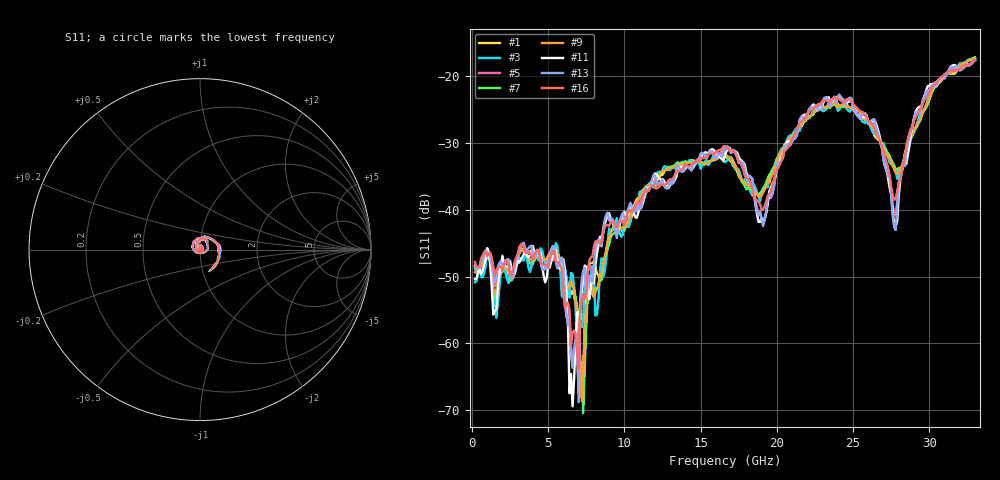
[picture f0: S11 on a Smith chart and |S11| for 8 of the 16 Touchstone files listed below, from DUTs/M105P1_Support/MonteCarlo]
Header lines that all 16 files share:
# GHZ S RI R 50
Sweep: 200 MHz to 33 GHz
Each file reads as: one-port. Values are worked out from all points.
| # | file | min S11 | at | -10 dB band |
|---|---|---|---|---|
| 1 | M105P1_70.s2p | -68.1 dB | 7.2 GHz | over 32.8 GHz wide |
| 2 | M105P1_75.s2p | -61.8 dB | 6.8 GHz | over 32.8 GHz wide |
| 3 | M105P1_76.s2p | -63.1 dB | 6.9 GHz | over 32.8 GHz wide |
| 4 | M105P1_77.s2p | -65.2 dB | 7 GHz | over 32.8 GHz wide |
| 5 | M105P1_79.s2p | -67.0 dB | 7 GHz | over 32.8 GHz wide |
| 6 | M105P1_80.s2p | -63.5 dB | 6.9 GHz | over 32.8 GHz wide |
| 7 | M105P1_84.s2p | -70.5 dB | 7.3 GHz | over 32.8 GHz wide |
| 8 | M105P1_87.s2p | -62.3 dB | 7.3 GHz | over 32.8 GHz wide |
| 9 | M105P1_88.s2p | -68.6 dB | 7.2 GHz | over 32.8 GHz wide |
| 10 | M105P1_90.s2p | -67.5 dB | 6.5 GHz | over 32.8 GHz wide |
| 11 | M105P1_91.s2p | -69.5 dB | 6.6 GHz | over 32.8 GHz wide |
| 12 | M105P1_92.s2p | -67.2 dB | 6.8 GHz | over 32.8 GHz wide |
| 13 | M105P1_93.s2p | -68.8 dB | 7 GHz | over 32.8 GHz wide |
| 14 | M105P1_98.s2p | -72.2 dB | 7.2 GHz | over 32.8 GHz wide |
| 15 | M105P1_99.s2p | -65.3 dB | 6.5 GHz | over 32.8 GHz wide |
| 16 | M105P1_100.s2p | -63.8 dB | 7 GHz | over 32.8 GHz wide |
